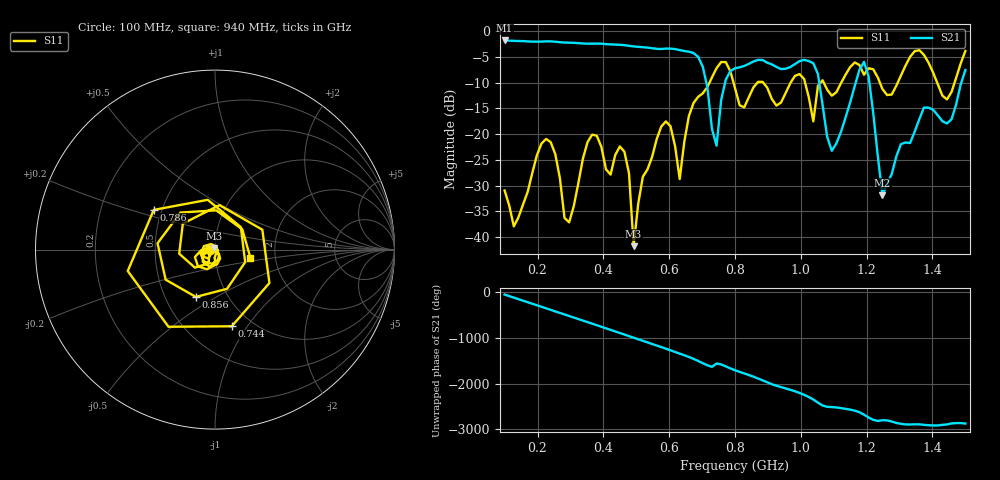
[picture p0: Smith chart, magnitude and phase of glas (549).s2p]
! NanoVNA-App
! Date: 2025-09-25 15:59:45
! Start: 100MHz Stop: 1,5GHz Points: 101
! S-Parameter data: F S11 S21 S12 S22
# Hz S RI R 50
!  Frequency  S11_Real  S11_Imag  S21_Real  S21_Imag  S12_Real  S12_Imag  S22_Real  S22_Imag
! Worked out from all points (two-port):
!   101 points, 100 MHz to 1.5 GHz, reference 50 ohm
!   highest |S21| = -1.80 dB at 100 MHz (marker M1); lowest = -31.9 dB at 1.248 GHz (marker M2)
!   |S21| within 3 dB of the highest: start of sweep to 684.4 MHz
!   lowest |S11| = -41.8 dB at 492 MHz (marker M3), VSWR 1.02, Z = 49.5 + j0.619 ohm
!   |S11| at or under -10 dB: start of sweep to 722.4 MHz; 795.5 MHz to 867.9 MHz (72.49 MHz wide, 8.72 % of centre); 886 MHz to 969.1 MHz (83.11 MHz wide, 8.96 % of centre) (the widest 3 of 7)
!   S12 and S22 are empty: the file has one direction only
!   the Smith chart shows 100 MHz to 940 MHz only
!   S11 on the Smith chart (normalised r, x): 100 MHz: 0.95, -0.01; 744 MHz: 0.81, -0.85; 786 MHz: 0.45, +0.24; 856 MHz: 0.71, -0.41; 940 MHz: 1.48, -0.15
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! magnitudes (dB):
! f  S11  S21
! 100 MHz  -30.9  -1.8
! 128 MHz  -37.9  -1.9
! 226 MHz  -20.9  -2.0
! 296 MHz  -37.1  -2.2
! 338 MHz  -24.7  -2.4
! 464 MHz  -23.4  -2.7
! 492 MHz  -41.8  -3.0
! 576 MHz  -18.5  -3.5
! 632 MHz  -28.7  -3.7
! 702 MHz  -12.1  -6.9
! 744 MHz  -7.2  -22.2
! 786 MHz  -7.8  -7.7
! 800 MHz  -11.0  -7.2
! 856 MHz  -10.9  -5.9
! 940 MHz  -13.8  -7.4
! 996 MHz  -8.3  -5.8
! 1.038 GHz  -17.5  -6.2
! 1.094 GHz  -12.5  -23.2
! 1.192 GHz  -8.5  -6.0
! 1.248 GHz  -11.2  -31.9
! 1.276 GHz  -12.3  -27.8
! 1.5 GHz  -3.8  -7.5
